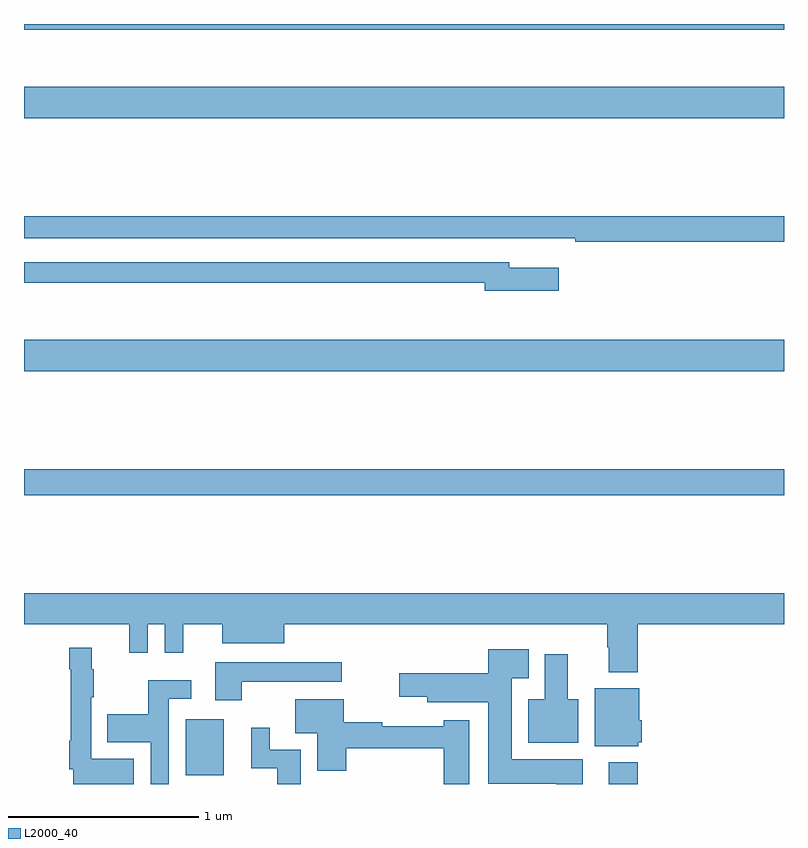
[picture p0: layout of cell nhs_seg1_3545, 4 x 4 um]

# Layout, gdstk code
import gdstk
lib = gdstk.Library(unit=1e-6, precision=1e-09)
def R(c, l, rs):  # rectangles x0, y0, x1, y1
    for r in rs: c.add(gdstk.rectangle(r[:2], r[2:], *l))
def P(c, l, *ps):  # polygons
    for p in ps: c.add(gdstk.Polygon(p, *l))
L2000_40 = (2000, 40)

nhs_seg1_3545 = lib.new_cell('nhs_seg1_3545')
R(nhs_seg1_3545, L2000_40, [(306.077,576.199,306.23,576.313), (303.851,576.245,304.051,576.541), (303,577.72,307,577.856), (303,578.372,307,578.536), (303,579.704,307,579.868), (303,580.17,307,580.199)])
P(nhs_seg1_3545, L2000_40, [(307,579.188),(303,579.188),(303,579.072),(305.65,579.072),(305.65,579.071),(305.902,579.071),(305.902,579.052),(307,579.052)],
  [(305.815,578.917),(305.554,578.917),(305.554,578.946),(303,578.946),(303,578.838),(305.426,578.838),(305.426,578.795),(305.815,578.795)],
  [(306.23,577.04),(307,577.04),(307,577.204),(303,577.204),(303,577.04),(303.554,577.04),(303.554,576.891),(303.651,576.891),(303.651,577.04),(303.741,577.04),(303.741,576.891),(303.839,576.891),(303.839,577.04),(304.043,577.04),(304.043,576.941),(304.369,576.941),(304.369,577.04),(306.07,577.04),(306.07,576.92),(306.077,576.92),(306.077,576.788),(306.23,576.788)],
  [(303.577,576.331),(303.354,576.331),(303.354,576.655),(303.367,576.655),(303.367,576.803),(303.356,576.803),(303.356,576.916),(303.238,576.916),(303.238,576.803),(303.246,576.803),(303.246,576.427),(303.238,576.427),(303.238,576.277),(303.258,576.277),(303.258,576.199),(303.577,576.199)],
  [(305.941,576.328),(305.566,576.328),(305.566,576.755),(305.656,576.755),(305.656,576.907),(305.444,576.907),(305.444,576.781),(304.974,576.781),(304.974,576.659),(305.123,576.659),(305.123,576.629),(305.444,576.629),(305.444,576.2),(305.801,576.2),(305.801,576.199),(305.941,576.199)],
  [(305.917,576.646),(305.863,576.646),(305.863,576.883),(305.741,576.883),(305.741,576.646),(305.654,576.646),(305.654,576.416),(305.917,576.416)],
  [(304.147,576.737),(304.672,576.737),(304.672,576.841),(304.007,576.841),(304.007,576.639),(304.147,576.639)],
  [(303.762,576.648),(303.88,576.648),(303.88,576.745),(303.654,576.745),(303.654,576.567),(303.439,576.567),(303.439,576.419),(303.666,576.419),(303.666,576.199),(303.762,576.199)],
  [(306.234,576.42),(306.25,576.42),(306.25,576.534),(306.238,576.534),(306.238,576.703),(306.005,576.703),(306.005,576.398),(306.234,576.398)],
  [(305.344,576.535),(305.21,576.535),(305.21,576.504),(304.886,576.504),(304.886,576.524),(304.684,576.524),(304.684,576.646),(304.427,576.646),(304.427,576.467),(304.544,576.467),(304.544,576.27),(304.697,576.27),(304.697,576.388),(305.21,576.388),(305.21,576.199),(305.344,576.199)],
  [(304.456,576.378),(304.294,576.378),(304.294,576.496),(304.196,576.496),(304.196,576.282),(304.334,576.282),(304.334,576.199),(304.456,576.199)])

lib.write_gds('nhs_seg1_3545.gds')
